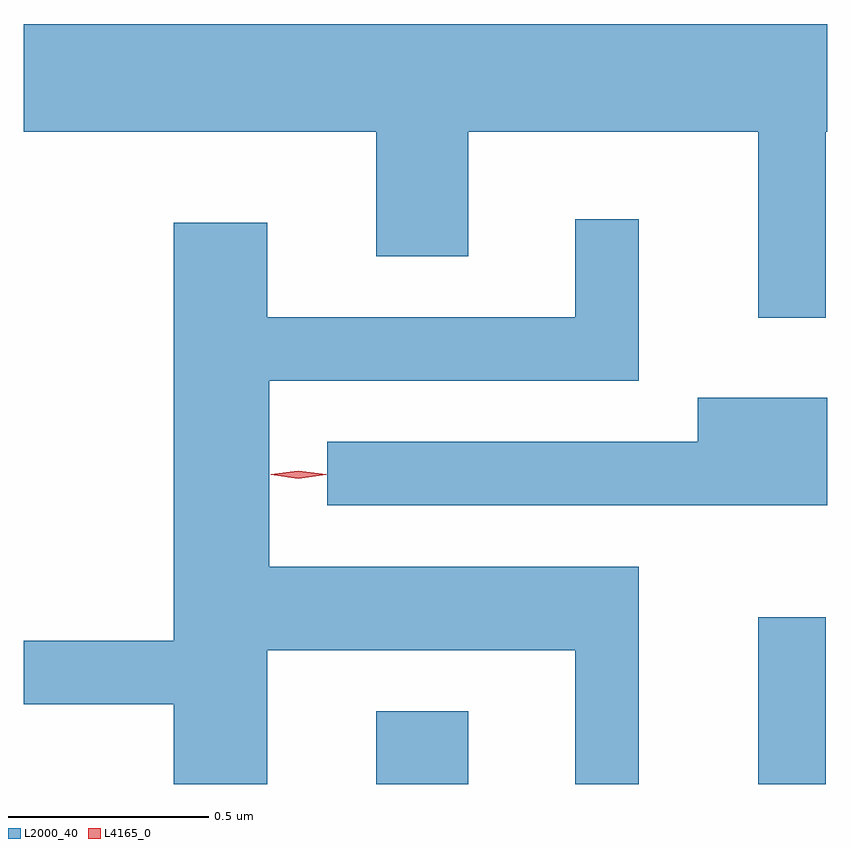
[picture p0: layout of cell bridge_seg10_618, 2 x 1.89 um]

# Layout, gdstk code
import gdstk
lib = gdstk.Library(unit=1e-6, precision=1e-09)
def R(c, l, rs):  # rectangles x0, y0, x1, y1
    for r in rs: c.add(gdstk.rectangle(r[:2], r[2:], *l))
def P(c, l, *ps):  # polygons
    for p in ps: c.add(gdstk.Polygon(p, *l))
L2000_40 = (2000, 40)
L4165_0 = (4165, 0)

bridge_seg10_618 = lib.new_cell('bridge_seg10_618')
R(bridge_seg10_618, L2000_40, [(661.281,2203.313,661.509,2203.494), (662.231,2203.313,662.399,2203.728)])
P(bridge_seg10_618, L2000_40, [(662.399,2204.936),(662.403,2204.936),(662.403,2205.204),(660.403,2205.204),(660.403,2204.936),(661.281,2204.936),(661.281,2204.626),(661.509,2204.626),(661.509,2204.936),(662.231,2204.936),(662.231,2204.473),(662.399,2204.473)],
  [(661.009,2203.646),(661.776,2203.646),(661.776,2203.313),(661.934,2203.313),(661.934,2203.854),(661.014,2203.854),(661.014,2204.316),(661.934,2204.316),(661.934,2204.718),(661.776,2204.718),(661.776,2204.474),(661.009,2204.474),(661.009,2204.709),(660.776,2204.709),(660.776,2203.669),(660.403,2203.669),(660.403,2203.511),(660.776,2203.511),(660.776,2203.313),(661.009,2203.313)],
  [(662.403,2204.274),(662.081,2204.274),(662.081,2204.164),(661.158,2204.164),(661.158,2204.006),(662.403,2204.006)])
P(bridge_seg10_618, L4165_0, [(661.086,2204.073),(661.02,2204.082),(661.02,2204.083),(661.02,2204.084),(661.086,2204.093),(661.152,2204.084),(661.153,2204.083),(661.152,2204.082)],
  [(661.087,2204.073),(661.018,2204.082),(661.018,2204.083),(661.018,2204.084),(661.087,2204.093),(661.156,2204.084),(661.156,2204.083),(661.156,2204.082)])

lib.write_gds('bridge_seg10_618.gds')
